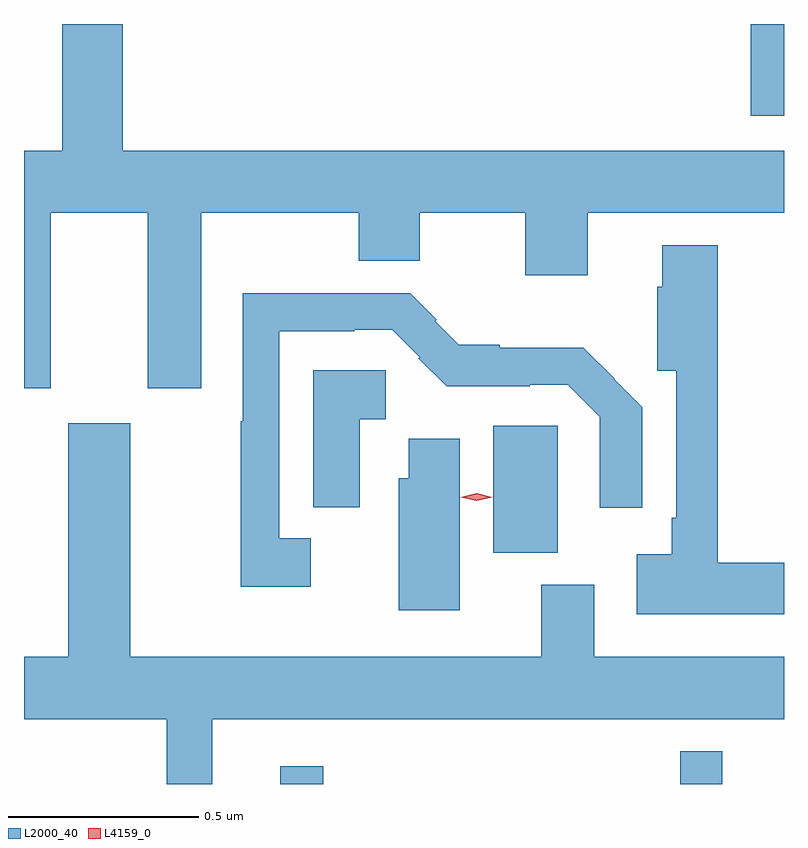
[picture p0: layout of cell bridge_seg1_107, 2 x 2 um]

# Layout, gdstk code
import gdstk
lib = gdstk.Library(unit=1e-6, precision=1e-09)
def R(c, l, rs):  # rectangles x0, y0, x1, y1
    for r in rs: c.add(gdstk.rectangle(r[:2], r[2:], *l))
def P(c, l, *ps):  # polygons
    for p in ps: c.add(gdstk.Polygon(p, *l))
L2000_40 = (2000, 40)
L4159_0 = (4159, 0)

bridge_seg1_107 = lib.new_cell('bridge_seg1_107')
R(bridge_seg1_107, L2000_40, [(216.737,507.605,216.851,507.652), (217.79,507.605,217.9,507.691), (217.298,508.214,217.468,508.548), (217.976,509.364,218.063,509.605)])
P(bridge_seg1_107, L2000_40, [(216.133,509.108),(216.389,509.108),(216.389,508.647),(216.529,508.647),(216.529,509.108),(216.944,509.108),(216.944,508.982),(217.105,508.982),(217.105,509.108),(217.382,509.108),(217.382,508.944),(217.546,508.944),(217.546,509.108),(218.063,509.108),(218.063,509.272),(216.323,509.272),(216.323,509.605),(216.163,509.605),(216.163,509.272),(216.063,509.272),(216.063,508.647),(216.133,508.647)],
  [(218.063,508.187),(217.888,508.187),(217.888,508.795),(217.889,508.795),(217.889,509.023),(217.742,509.023),(217.742,508.913),(217.73,508.913),(217.73,508.692),(217.779,508.692),(217.779,508.306),(217.767,508.306),(217.767,508.21),(217.676,508.21),(217.676,508.052),(218.063,508.052)],
  [(216.818,508.252),(216.735,508.252),(216.735,508.796),(216.932,508.796),(216.932,508.8),(217.032,508.8),(217.104,508.728),(217.101,508.725),(217.175,508.652),(217.394,508.652),(217.394,508.656),(217.494,508.656),(217.578,508.572),(217.578,508.332),(217.69,508.332),(217.69,508.596),(217.616,508.67),(217.617,508.671),(217.535,508.753),(217.315,508.753),(217.315,508.761),(217.207,508.761),(217.145,508.823),(217.149,508.827),(217.079,508.897),(216.639,508.897),(216.639,508.559),(216.634,508.559),(216.634,508.124),(216.818,508.124)],
  [(216.946,508.565),(217.015,508.565),(217.015,508.694),(216.824,508.694),(216.824,508.333),(216.946,508.333)],
  [(216.559,507.776),(218.063,507.776),(218.063,507.94),(217.564,507.94),(217.564,508.129),(217.424,508.129),(217.424,507.94),(216.343,507.94),(216.343,508.555),(216.179,508.555),(216.179,507.94),(216.063,507.94),(216.063,507.776),(216.438,507.776),(216.438,507.605),(216.559,507.605)],
  [(217.21,508.513),(217.076,508.513),(217.076,508.41),(217.049,508.41),(217.049,508.062),(217.21,508.062)])
P(bridge_seg1_107, L4159_0, [(217.254,508.35),(217.212,508.36),(217.212,508.36),(217.212,508.36),(217.254,508.37),(217.295,508.36),(217.295,508.36),(217.295,508.36)])

lib.write_gds('bridge_seg1_107.gds')
